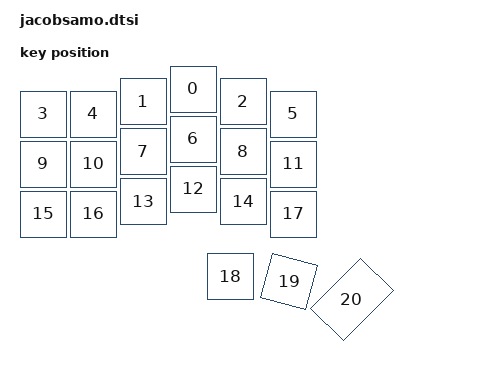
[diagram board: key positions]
/ {
    layout_0: layout_0 {
        compatible = "zmk,physical-layout";
        display-name = "Jacobsamo splitkeyboard v1";

        keys  //                     w   h    x    y     rot    rx    ry
            = <&key_physical_attrs 100 100  300  150       0     0     0>
            , <&key_physical_attrs 100 100  200  175       0     0     0>
            , <&key_physical_attrs 100 100  400  175       0     0     0>
            , <&key_physical_attrs 100 100    0  200       0     0     0>
            , <&key_physical_attrs 100 100  100  200       0     0     0>
            , <&key_physical_attrs 100 100  500  200       0     0     0>
            , <&key_physical_attrs 100 100  300  250       0     0     0>
            , <&key_physical_attrs 100 100  200  275       0     0     0>
            , <&key_physical_attrs 100 100  400  275       0     0     0>
            , <&key_physical_attrs 100 100    0  300       0     0     0>
            , <&key_physical_attrs 100 100  100  300       0     0     0>
            , <&key_physical_attrs 100 100  500  300       0     0     0>
            , <&key_physical_attrs 100 100  300  350       0     0     0>
            , <&key_physical_attrs 100 100  200  375       0     0     0>
            , <&key_physical_attrs 100 100  400  375       0     0     0>
            , <&key_physical_attrs 100 100    0  400       0     0     0>
            , <&key_physical_attrs 100 100  100  400       0     0     0>
            , <&key_physical_attrs 100 100  500  400       0     0     0>
            , <&key_physical_attrs 100 100  375  525       0     0     0>
            , <&key_physical_attrs 100 100  625  375    1500     0     0>
            , <&key_physical_attrs 150 100  580  560 (-4500)   675   600>
            ;
    };

    position_map {
        compatible = "zmk,physical-layout-position-map";

        layout_0 {
            physical-layout = <&layout_0>;
            positions = <>;
        };
    };
};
